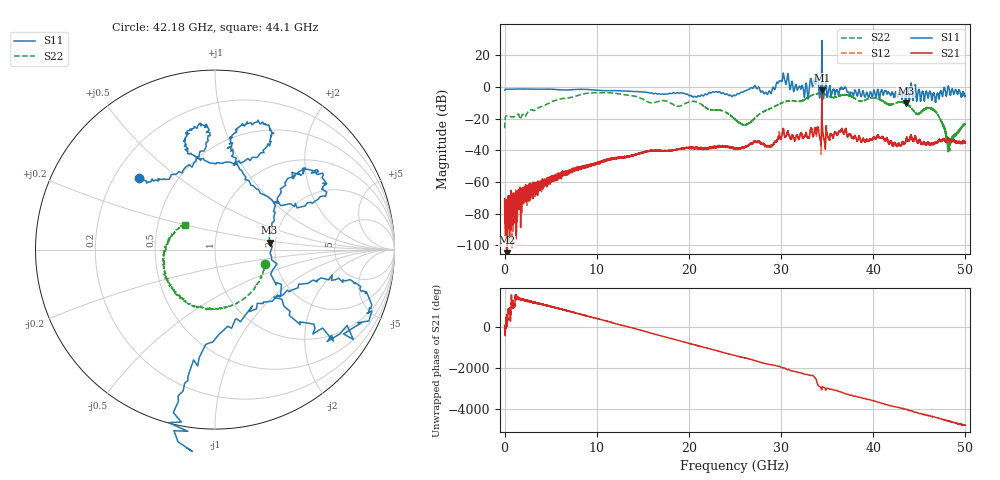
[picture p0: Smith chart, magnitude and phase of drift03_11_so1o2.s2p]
!Created with skrf (http://scikit-rf.org).
# Hz S RI R 50.0
!freq ReS11 ImS11 ReS21 ImS21 ReS12 ImS12 ReS22 ImS22
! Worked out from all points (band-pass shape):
!   10000 points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, 5.3 MHz to 50 GHz, reference 50 ohm
!   highest |S21| = -2.12 dB at 34.43 GHz (marker M1); lowest = -104.7 dB at 280.3 MHz (marker M2)
!   |S21| within 3 dB of the highest: 34.4276 GHz to 34.4338 GHz (6.198 MHz wide, 0.018 % of centre)
!   lowest |S11| = -10.3 dB at 43.52 GHz (marker M3), VSWR 1.88, Z = 93.3 + j8.04 ohm
!   |S11| at or under -10 dB: 43.50976 GHz to 43.52371 GHz (13.95 MHz wide, 0.0321 % of centre); 43.52644 GHz to 43.53438 GHz (7.944 MHz wide, 0.0183 % of centre)
!   |S22| runs from -41.0 to -3.6 dB; largest |S21 - S12| = 0.24
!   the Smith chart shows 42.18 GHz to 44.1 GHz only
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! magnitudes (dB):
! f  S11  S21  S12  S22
! 5.3 MHz  -2.1  -70.6  -76.1  -26.1
! 280.3 MHz  -1.4  -104.7  -72.7  -18.3
! 2.215 GHz  -1.3  -64.7  -68.3  -18.7
! 8.34 GHz  -1.5  -50.1  -50.9  -4.7
! 16.67 GHz  -4.4  -40.4  -40.3  -9.2
! 20.72 GHz  -6.2  -38.4  -38.8  -9.3
! 25.01 GHz  -5.5  -39.0  -39.0  -20.6
! 26.22 GHz  -2.3  -37.6  -37.5  -23.8
! 27.37 GHz  -1.2  -35.1  -34.9  -18.4
! 28.72 GHz  -2.5  -37.6  -37.6  -14.0
! 30.14 GHz  4.4  -29.5  -29.8  -10.0
! 32.74 GHz  2.0  -29.4  -29.2  -7.3
! 33.34 GHz  2.4  -27.4  -27.6  -5.3
! 33.82 GHz  3.9  -29.0  -29.5  -4.3
! 34.43 GHz  29.4  -2.1  -4.2  -4.0
! 36.48 GHz  -0.6  -28.0  -28.0  -5.3
! 41.67 GHz  -3.3  -35.7  -35.6  -11.2
! 43.52 GHz  -10.3  -34.5  -34.4  -10.4
! 44.74 GHz  -8.8  -34.4  -34.3  -17.3
! 46.66 GHz  -5.6  -35.5  -35.8  -15.0
! 48.22 GHz  -0.8  -32.9  -33.3  -36.1
! 50 GHz  -5.4  -35.4  -35.3  -23.4
